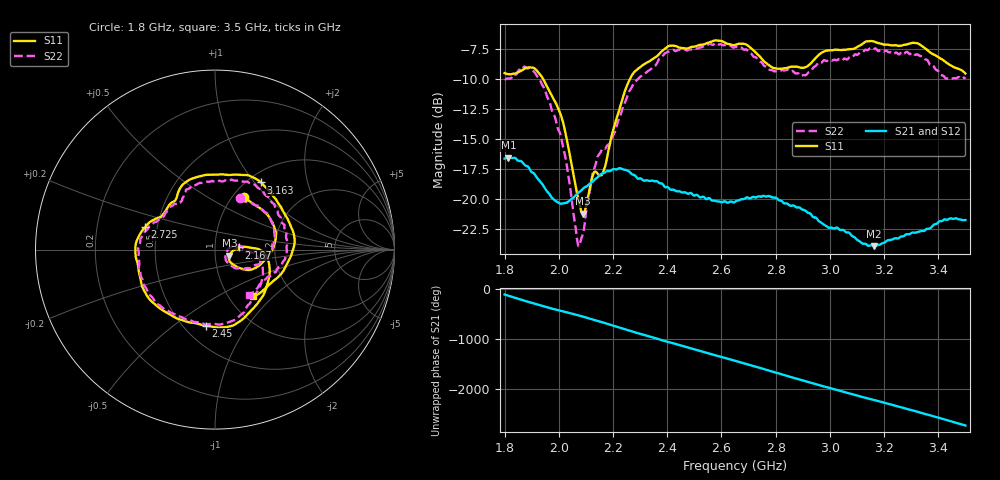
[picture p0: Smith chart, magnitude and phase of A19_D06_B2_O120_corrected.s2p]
! Created with skrf 1.9.0 (http://scikit-rf.org).
# Hz S RI R 50.0
!freq ReS11 ImS11 ReS21 ImS21 ReS12 ImS12 ReS22 ImS22
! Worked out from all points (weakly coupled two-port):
!   1601 points, 1.8 GHz to 3.5 GHz, reference 50 ohm
!   highest |S21| = -16.55 dB at 1.814 GHz (marker M1); lowest = -23.9 dB at 3.163 GHz (marker M2)
!   lowest |S11| = -21.2 dB at 2.09 GHz (marker M3), VSWR 1.19, Z = 58.6 - j3.93 ohm
!   |S11| at or under -10 dB: 1.942 GHz to 2.262 GHz (319.9 MHz wide, 15.2 % of centre)
!   |S22| runs from -23.9 to -7.0 dB; largest |S21 - S12| = 0.0025
!   S11 on the Smith chart (normalised r, x): 1.8 GHz: 1.13, +0.74; 2.167 GHz: 1.30, +0.03; 2.45 GHz: 0.64, -0.66; 2.725 GHz: 0.43, +0.13; 3.163 GHz: 1.15, +1.08; 3.5 GHz: 1.28, -0.75
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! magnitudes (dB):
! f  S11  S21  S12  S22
! 1.8 GHz  -9.5  -16.6  -16.6  -10.0
! 1.814 GHz  -9.6  -16.5  -16.5  -9.9
! 1.881 GHz  -9.1  -17.3  -17.3  -9.1
! 1.943 GHz  -10.0  -18.9  -18.9  -10.6
! 2.013 GHz  -13.4  -20.4  -20.4  -15.4
! 2.068 GHz  -19.6  -19.6  -19.6  -23.5
! 2.084 GHz  -21.1  -19.3  -19.2  -23.3
! 2.09 GHz  -21.2  -19.1  -19.2  -22.8
! 2.128 GHz  -17.9  -18.5  -18.5  -17.6
! 2.167 GHz  -17.6  -17.8  -17.8  -15.8
! 2.259 GHz  -10.2  -17.7  -17.7  -11.1
! 2.367 GHz  -8.0  -18.6  -18.6  -8.4
! 2.45 GHz  -7.4  -19.4  -19.4  -7.6
! 2.65 GHz  -7.2  -20.2  -20.2  -7.3
! 2.725 GHz  -7.8  -19.9  -19.9  -8.2
! 2.802 GHz  -9.1  -19.9  -19.9  -9.3
! 2.934 GHz  -8.6  -21.4  -21.4  -9.2
! 3.163 GHz  -6.9  -23.9  -23.9  -7.5
! 3.217 GHz  -7.1  -23.4  -23.4  -7.8
! 3.324 GHz  -7.0  -22.8  -22.7  -8.0
! 3.43 GHz  -8.6  -21.7  -21.7  -10.0
! 3.5 GHz  -9.5  -21.8  -21.7  -10.0
